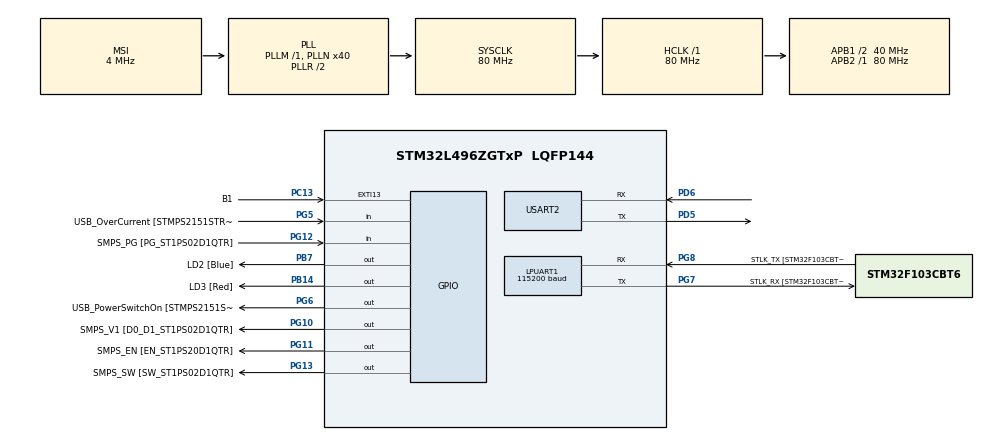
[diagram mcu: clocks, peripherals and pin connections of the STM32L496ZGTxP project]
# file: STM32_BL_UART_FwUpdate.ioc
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CRC.InputDataFormat=CRC_INPUTDATA_FORMAT_WORDS
LPUART1.BaudRate=115200
LPUART1.WordLength=UART_WORDLENGTH_8B
Mcu.Family=STM32L4
Mcu.Name=STM32L496ZGTxP
Mcu.Package=LQFP144
NVIC.PriorityGroup=NVIC_PRIORITYGROUP_4
PA13\ (JTMS/SWDIO).GPIO_Label=TMS
PA13\ (JTMS/SWDIO).Mode=Trace_Asynchronous_SW
PA13\ (JTMS/SWDIO).Signal=SYS_JTMS-SWDIO
PA14\ (JTCK/SWCLK).GPIO_Label=TCK
PA14\ (JTCK/SWCLK).Mode=Trace_Asynchronous_SW
PA14\ (JTCK/SWCLK).Signal=SYS_JTCK-SWCLK
PB14.GPIO_Label=LD3 [Red]
PB14.Signal=GPIO_Output
PB3\ (JTDO/TRACESWO).GPIO_Label=SWO
PB3\ (JTDO/TRACESWO).Mode=Trace_Asynchronous_SW
PB3\ (JTDO/TRACESWO).Signal=SYS_JTDO-SWO
PB7.GPIO_Label=LD2 [Blue]
PB7.Signal=GPIO_Output
PC13.GPIO_Label=B1
PC13.Signal=GPXTI13
PC14-OSC32_IN\ (PC14).Signal=RCC_OSC32_IN
PC15-OSC32_OUT\ (PC15).Signal=RCC_OSC32_OUT
PD5.Mode=Asynchronous
PD5.Signal=USART2_TX
PD6.Mode=Asynchronous
PD6.Signal=USART2_RX
PG10.GPIO_Label=SMPS_V1 [D0_D1_ST1PS02D1QTR]
PG10.Signal=GPIO_Output
PG11.GPIO_Label=SMPS_EN [EN_ST1PS20D1QTR]
PG11.Signal=GPIO_Output
PG12.GPIO_Label=SMPS_PG [PG_ST1PS02D1QTR]
PG12.Signal=GPIO_Input
PG13.GPIO_Label=SMPS_SW [SW_ST1PS02D1QTR]
PG13.Signal=GPIO_Output
PG5.GPIO_Label=USB_OverCurrent [STMPS2151STR_FAULT]
PG5.Signal=GPIO_Input
PG6.GPIO_Label=USB_PowerSwitchOn [STMPS2151STR_EN]
PG6.Signal=GPIO_Output
PG7.GPIO_Label=STLK_RX [STM32F103CBT6_PA3]
PG7.Mode=Asynchronous
PG7.Signal=LPUART1_TX
PG8.GPIO_Label=STLK_TX [STM32F103CBT6_PA2]
PG8.Mode=Asynchronous
PG8.Signal=LPUART1_RX
PH0-OSC_IN\ (PH0).GPIO_Label=MCO
PH0-OSC_IN\ (PH0).Signal=RCC_OSC_IN
PH1-OSC_OUT\ (PH1).Signal=RCC_OSC_OUT
ProjectManager.HeapSize=0x200
ProjectManager.StackSize=0x400
ProjectManager.TargetToolchain=STM32CubeIDE
RCC.48MHZClocksFreq_Value=24000000
RCC.AHBFreq_Value=80000000
RCC.APB1CLKDivider=RCC_HCLK_DIV2
RCC.APB1Freq_Value=40000000
RCC.APB1TimFreq_Value=80000000
RCC.APB2Freq_Value=80000000
RCC.APB2TimFreq_Value=80000000
RCC.CortexFreq_Value=80000000
RCC.HCLKFreq_Value=80000000
RCC.HSE_VALUE=8000000
RCC.HSI48_VALUE=48000000
RCC.HSI_VALUE=16000000
RCC.LSE_VALUE=32768
RCC.MSI_VALUE=4000000
RCC.PLLMUL=RCC_PLL_MUL9
RCC.PLLN=40
RCC.PRESCALERUSB=RCC_USBCLKSOURCE_PLL_DIV1_5
RCC.SYSCLKFreq_VALUE=80000000
RCC.SYSCLKSource=RCC_SYSCLKSOURCE_PLLCLK
RCC.SYSCLKSourceVirtual=RCC_SYSCLKSOURCE_PLLCLK
RCC.USBFreq_Value=16000000
RCC.VCOOutputFreq_Value=160000000
USART2.VirtualMode-Asynchronous=VM_ASYNC
VP_CRC_VS_CRC.Mode=CRC_Activate
board=NUCLEO-L496ZG-P

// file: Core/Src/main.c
/* USER CODE BEGIN Header */
/**
  ******************************************************************************
  * @file           : main.c
  * @brief          : Main program body
  ******************************************************************************
  * @attention
  *
  * Copyright (c) 2025 STMicroelectronics.
  * All rights reserved.
  *
  * This software is licensed under terms that can be found in the LICENSE file
  * in the root directory of this software component.
  * If no LICENSE file comes with this software, it is provided AS-IS.
  *
  ******************************************************************************
  */
/* USER CODE END Header */
#include "main.h"

/* USER CODE BEGIN PD */
#define BL_DEBUG_MSG_EN	1
#define D_UART &hlpuart1 /* Debug UART*/
#define C_UART &huart2 /* Virtual Communication UART - For BL Commands (C)*/

#define BL_RX_LEN 200

#define FLASH_BOOTLOADER 		0x08000000 /* Bank 1 - Boot loader 32KB*/
#define FLASH_FIRMWARE1 		0x08008000 /* Bank 1 - 480KB */
#define FLASH_FIRMWARE2 		0x08080000 /* Bank 2 - 512KB */

/* FLASH Active Bank Macros */
#define FLASH_ACTIVE_BANK1 		1
#define FLASH_ACTIVE_BANK2		2

/* FLASH Page for Meta data*/
#define FLASH_METADATA_PAGE		511
#define FLASH_METADATA_BASEADDR	0x080FF800

/* USER CODE END PD */

CRC_HandleTypeDef hcrc;

UART_HandleTypeDef hlpuart1;
UART_HandleTypeDef huart2;

/* USER CODE BEGIN PV */
uint8_t bl_rx_buffer[BL_RX_LEN]; /* Buffer for general boot loader communications */

uint8_t supported_commands[] = {
                                 BL_GET_VER ,
                                 BL_GET_HELP,
                                 BL_GET_CID,
                                 BL_GET_RDP_STATUS,
                                 BL_GO_TO_ADDR,
                                 BL_FLASH_ERASE,
                                 BL_MEM_WRITE,
                                 BL_READ_SECTOR_P_STATUS,
								 BL_SHOW_ACTIVE_BANK};

uint8_t active_bank_number; /*Variable to store active bank number ACTIVE_BANK_1 or ACTIVE_BANK_2*/

/* Variable to store the active firmware bank number - To be preserved even after powering off
 * One method: one dedicated page (2KB) in FLASH for configuration data - meta-data*/

/* USER CODE END PV */

void SystemClock_Config(void);
static void MX_GPIO_Init(void);
static void MX_LPUART1_UART_Init(void);
static void MX_USART2_UART_Init(void);
static void MX_CRC_Init(void);

int main(void)
{

  /* MCU Configuration--------------------------------------------------------*/

  /* Reset of all peripherals, Initializes the Flash interface and the Systick. */
  HAL_Init();

  /* Configure the system clock */
  SystemClock_Config();

  /* Initialize all configured peripherals */
  MX_GPIO_Init();
  MX_LPUART1_UART_Init();
  MX_USART2_UART_Init();
  MX_CRC_Init();
  /* USER CODE BEGIN 2 */

  /*Initially active bank is set as FLASH_ACTIVE_BANK1 as factory setup. TODO: Write protect and other necessary operations*/
  //update_active_bank_number(FLASH_ACTIVE_BANK2);

  /*Fetch the bank no. which has to be activated*/
  active_bank_number = fetch_active_bank_number();
  printmsg("BL_DEBUG_MSG: Active Bank: %d \n\r", active_bank_number);

  /*If button is pressed*/
  if(HAL_GPIO_ReadPin(B1_GPIO_Port, B1_Pin) == GPIO_PIN_SET)
  {
	  printmsg("BL_DEBUG_MSG: Button pressed. Checking for firmware updates.\n\r");

	  /*Clear the RX buffer for firmware related functions TODO: Check this logic*/
	  //memset(bl_rx_buffer, 0, BL_RX_LEN);

	  /* Function to return the version available on the host application */
	  //uint8_t available_version = fetch_available_firmware_version(); TODO: Fix Flow Logic
	  //printmsg("BL_DEBUG_MSG: Fetched version: %d \n\r", available_version);

	  /* Check if the user needs to update firmware, get input via Debug UART */
	  printmsg("BL_DEBUG_MSG: Update Firmware? Y/n \n\r");
	  uint8_t update_option;
	  HAL_UART_Receive(D_UART, &update_option, 1, HAL_MAX_DELAY);
	  if(update_option == 'Y' || update_option == 'y')
	  {
		  /*User requires a firmware update */

		  handle_firmware_update();

	  }else if(update_option == 'N' || update_option == 'n')
	  {
		  /*User does not requires a firmware update, go to custom boot loader*/
		  printmsg("BL_DEBUG_MSG: Update not required, entering bootloader mode \n\r");

		  /*Continuously check for user inputs to the boot loader*/
		  bootloader_uart_read_data();

	  }else{
		  printmsg("BL_DEBUG_MSG: Invalid option. Please reset the board. \n\r");
		  while(1);
	  }

  }else{

	  printmsg("BL_DEBUG_MSG: Button not pressed. Executing user application\n\r");

	  bootloader_jump_to_active_bank(); /*Jump to the active bank binaries*/
  }

  /* USER CODE END 2 */

  /* Infinite loop */
  while (1)
  {

  }
}

void SystemClock_Config(void)
{
  RCC_OscInitTypeDef RCC_OscInitStruct = {0};
  RCC_ClkInitTypeDef RCC_ClkInitStruct = {0};

  /** Configure the main internal regulator output voltage
  */
  if (HAL_PWREx_ControlVoltageScaling(PWR_REGULATOR_VOLTAGE_SCALE1) != HAL_OK)
  {
    Error_Handler();
  }

  /** Initializes the RCC Oscillators according to the specified parameters
  * in the RCC_OscInitTypeDef structure.
  */
  RCC_OscInitStruct.OscillatorType = RCC_OSCILLATORTYPE_MSI;
  RCC_OscInitStruct.MSIState = RCC_MSI_ON;
  RCC_OscInitStruct.MSICalibrationValue = 0;
  RCC_OscInitStruct.MSIClockRange = RCC_MSIRANGE_6;
  RCC_OscInitStruct.PLL.PLLState = RCC_PLL_ON;
  RCC_OscInitStruct.PLL.PLLSource = RCC_PLLSOURCE_MSI;
  RCC_OscInitStruct.PLL.PLLM = 1;
  RCC_OscInitStruct.PLL.PLLN = 40;
  RCC_OscInitStruct.PLL.PLLP = RCC_PLLP_DIV2;
  RCC_OscInitStruct.PLL.PLLQ = RCC_PLLQ_DIV2;
  RCC_OscInitStruct.PLL.PLLR = RCC_PLLR_DIV2;
  if (HAL_RCC_OscConfig(&RCC_OscInitStruct) != HAL_OK)
  {
    Error_Handler();
  }

  /** Initializes the CPU, AHB and APB buses clocks
  */
  RCC_ClkInitStruct.ClockType = RCC_CLOCKTYPE_HCLK|RCC_CLOCKTYPE_SYSCLK
                              |RCC_CLOCKTYPE_PCLK1|RCC_CLOCKTYPE_PCLK2;
  RCC_ClkInitStruct.SYSCLKSource = RCC_SYSCLKSOURCE_PLLCLK;
  RCC_ClkInitStruct.AHBCLKDivider = RCC_SYSCLK_DIV1;
  RCC_ClkInitStruct.APB1CLKDivider = RCC_HCLK_DIV2;
  RCC_ClkInitStruct.APB2CLKDivider = RCC_HCLK_DIV1;

  if (HAL_RCC_ClockConfig(&RCC_ClkInitStruct, FLASH_LATENCY_4) != HAL_OK)
  {
    Error_Handler();
  }
}

static void MX_CRC_Init(void)
{

  hcrc.Instance = CRC;
  hcrc.Init.DefaultPolynomialUse = DEFAULT_POLYNOMIAL_ENABLE;
  hcrc.Init.DefaultInitValueUse = DEFAULT_INIT_VALUE_ENABLE;
  hcrc.Init.InputDataInversionMode = CRC_INPUTDATA_INVERSION_NONE;
  hcrc.Init.OutputDataInversionMode = CRC_OUTPUTDATA_INVERSION_DISABLE;
  hcrc.InputDataFormat = CRC_INPUTDATA_FORMAT_WORDS;
  if (HAL_CRC_Init(&hcrc) != HAL_OK)
  {
    Error_Handler();
  }

}

static void MX_LPUART1_UART_Init(void)
{

  hlpuart1.Instance = LPUART1;
  hlpuart1.Init.BaudRate = 115200;
  hlpuart1.Init.WordLength = UART_WORDLENGTH_8B;
  hlpuart1.Init.StopBits = UART_STOPBITS_1;
  hlpuart1.Init.Parity = UART_PARITY_NONE;
  hlpuart1.Init.Mode = UART_MODE_TX_RX;
  hlpuart1.Init.HwFlowCtl = UART_HWCONTROL_NONE;
  hlpuart1.Init.OneBitSampling = UART_ONE_BIT_SAMPLE_DISABLE;
  hlpuart1.AdvancedInit.AdvFeatureInit = UART_ADVFEATURE_NO_INIT;
  if (HAL_UART_Init(&hlpuart1) != HAL_OK)
  {
    Error_Handler();
  }

}

static void MX_USART2_UART_Init(void)
{

  huart2.Instance = USART2;
  huart2.Init.BaudRate = 115200;
  huart2.Init.WordLength = UART_WORDLENGTH_8B;
  huart2.Init.StopBits = UART_STOPBITS_1;
  huart2.Init.Parity = UART_PARITY_NONE;
  huart2.Init.Mode = UART_MODE_TX_RX;
  huart2.Init.HwFlowCtl = UART_HWCONTROL_NONE;
  huart2.Init.OverSampling = UART_OVERSAMPLING_16;
  huart2.Init.OneBitSampling = UART_ONE_BIT_SAMPLE_DISABLE;
  huart2.AdvancedInit.AdvFeatureInit = UART_ADVFEATURE_NO_INIT;
  if (HAL_UART_Init(&huart2) != HAL_OK)
  {
    Error_Handler();
  }

}

static void MX_GPIO_Init(void)
{
  GPIO_InitTypeDef GPIO_InitStruct = {0};

  /* GPIO Ports Clock Enable */
  __HAL_RCC_GPIOC_CLK_ENABLE();
  __HAL_RCC_GPIOH_CLK_ENABLE();
  __HAL_RCC_GPIOB_CLK_ENABLE();
  __HAL_RCC_GPIOG_CLK_ENABLE();
  HAL_PWREx_EnableVddIO2();
  __HAL_RCC_GPIOA_CLK_ENABLE();
  __HAL_RCC_GPIOD_CLK_ENABLE();

  /*Configure GPIO pin Output Level */
  HAL_GPIO_WritePin(GPIOB, LD3_Pin|LD2_Pin, GPIO_PIN_RESET);

  /*Configure GPIO pin Output Level */
  HAL_GPIO_WritePin(GPIOG, USB_PowerSwitchOn_Pin|SMPS_V1_Pin|SMPS_EN_Pin|SMPS_SW_Pin, GPIO_PIN_RESET);

  /*Configure GPIO pin : B1_Pin */
  GPIO_InitStruct.Pin = B1_Pin;
  GPIO_InitStruct.Mode = GPIO_MODE_IT_RISING;
  GPIO_InitStruct.Pull = GPIO_NOPULL;
  HAL_GPIO_Init(B1_GPIO_Port, &GPIO_InitStruct);

  /*Configure GPIO pins : LD3_Pin LD2_Pin */
  GPIO_InitStruct.Pin = LD3_Pin|LD2_Pin;
  GPIO_InitStruct.Mode = GPIO_MODE_OUTPUT_PP;
  GPIO_InitStruct.Pull = GPIO_NOPULL;
  GPIO_InitStruct.Speed = GPIO_SPEED_FREQ_LOW;
  HAL_GPIO_Init(GPIOB, &GPIO_InitStruct);

  /*Configure GPIO pins : USB_OverCurrent_Pin SMPS_PG_Pin */
  GPIO_InitStruct.Pin = USB_OverCurrent_Pin|SMPS_PG_Pin;
  GPIO_InitStruct.Mode = GPIO_MODE_INPUT;
  GPIO_InitStruct.Pull = GPIO_NOPULL;
  HAL_GPIO_Init(GPIOG, &GPIO_InitStruct);

  /*Configure GPIO pins : USB_PowerSwitchOn_Pin SMPS_V1_Pin SMPS_EN_Pin SMPS_SW_Pin */
  GPIO_InitStruct.Pin = USB_PowerSwitchOn_Pin|SMPS_V1_Pin|SMPS_EN_Pin|SMPS_SW_Pin;
  GPIO_InitStruct.Mode = GPIO_MODE_OUTPUT_PP;
  GPIO_InitStruct.Pull = GPIO_NOPULL;
  GPIO_InitStruct.Speed = GPIO_SPEED_FREQ_LOW;
  HAL_GPIO_Init(GPIOG, &GPIO_InitStruct);

}

/* USER CODE BEGIN 4 */

void printmsg(char *format, ...){/* The ... (ellipsis) means that more arguments can follow */

#ifdef BL_DEBUG_MSG_EN

	char str[80];
	/*Extract the argument list using C VA APIs*/
	va_list args;
	va_start(args, format);
	vsprintf(str, format, args);
	HAL_UART_Transmit(D_UART, (uint8_t*)str, strlen(str), HAL_MAX_DELAY);
	va_end(args);
#endif
}

void bootloader_jump_to_active_bank()
{
	/* Flow of the function:
	 * 1. Reads the applications’s initial MSP and sets it.
	 * 2. Redirects interrupts by re-mapping VTOR.
	 * 3. Fetches the application’s Reset_Handler address.
	 * 4. Calls it, effectively jumping to the user application.
	 */

	printmsg("BL_DEBUG_MSG: bootloader_jump_to_user_app\n\r");

	/*The first byte at address of the FLASH area holds the value of MSP and next byte holds the Reset Handler
	 * according to ARM-Cortex Architecture */

	/*1. Configure the Main Stack Pointer (MSP) by reading the value form the flash base address of desired sector*/
	/* Check which firmware bank is active and run active firmware bank*/

	uint32_t resethandler_address;

	if(active_bank_number == FLASH_ACTIVE_BANK1)
	{

		printmsg("BL_DEBUG_MSG: Firmware Bank 1 Active. \n\r");

		uint32_t msp_value = *(volatile uint32_t*)FLASH_FIRMWARE1;

		/* Set MSP function from CMSIS*/
		__set_MSP(msp_value);

		/* Re-map vector table to user application base address */
		SCB->VTOR = FLASH_FIRMWARE1; /* System Control Block - Vector Table Offset Register */

		/* Fetch the reset handler address of the user application
		* from the location FIRMWARE_BASE_ADDRESS + 4 (32bits) */
		resethandler_address = *(volatile uint32_t*)(FLASH_FIRMWARE1 + 4);

	}else if(active_bank_number == FLASH_ACTIVE_BANK2){

		printmsg("BL_DEBUG_MSG: Firmware Bank 2 Active. \n\r");

		uint32_t msp_value = *(volatile uint32_t*)FLASH_FIRMWARE2;

		__set_MSP(msp_value);

		SCB->VTOR = FLASH_FIRMWARE2;

		resethandler_address = *(volatile uint32_t*)(FLASH_FIRMWARE2 + 4);
	}
	else{
		/*If values fetched from FLASH Meta data page is not 0 or 1*/
		printmsg("BL_DEBUG_MSG: Firmware Bank Error! \n\r");
	}

	void (*app_reset_handler)(void); /*A function pointer to hold the address of reset handler*/
	app_reset_handler = (void*) resethandler_address;

	/*3. Jumping to the reset handler of user application - Now this address will be loaded into the Program Counter*/
	app_reset_handler();

}

void bootloader_uart_read_data()
{
	uint8_t rcv_len = 0;

	while(1)
	{
		memset(bl_rx_buffer, 0, BL_RX_LEN);

		/*First read only one byte, which is the length. Then read the other bytes from UART */
		HAL_UART_Receive(C_UART, (uint8_t*)&bl_rx_buffer, 1, HAL_MAX_DELAY);
		rcv_len = bl_rx_buffer[0];
		/*Receive the command*/
		HAL_UART_Receive(C_UART, (uint8_t*)&bl_rx_buffer[1], rcv_len, HAL_MAX_DELAY);

		switch(bl_rx_buffer[1]) /* To check for command codes */
		{
		case BL_GET_VER:
			bootloader_handle_getver_cmd(bl_rx_buffer);
			break;
		case BL_GET_HELP:
			bootloader_handle_gethelp_cmd(bl_rx_buffer);
			break;
		case BL_GET_CID:
			bootloader_handle_getcid_cmd(bl_rx_buffer);
			break;
		case BL_GET_RDP_STATUS:
			bootloader_handle_getrdp_cmd(bl_rx_buffer);
			break;
		case BL_FLASH_ERASE:
			bootloader_handle_flash_erase_cmd(bl_rx_buffer);
			break;
		case BL_MEM_WRITE:
			bootloader_handle_mem_write_cmd(bl_rx_buffer);
			break;
		case BL_EN_RW_PROTECT:
			bootloader_handle_en_rw_protect(bl_rx_buffer);
			break;
		case BL_DIS_R_W_PROTECT:
			bootloader_handle_dis_rw_protect(bl_rx_buffer);
			break;
		case BL_SHOW_ACTIVE_BANK:
			bootloader_show_active_bank(bl_rx_buffer);
		default:
			printmsg("BL_DEBUG_MSG:Invalid command code received from host \n\r");
			break;

		}

	}
}

/******************* Boot loader handler functions *******************/

void bootloader_handle_getver_cmd(uint8_t *bl_rx_buffer)
{
    /* Handle "Get Version" command */
	uint8_t bl_version;

	uint32_t command_packet_len = bl_rx_buffer[0] + 1; /*Length to follow + First byte*/

	/*Extract the 4 bytes of CRC32 sent by the host*/
	uint32_t host_crc = *((uint32_t*)(bl_rx_buffer + command_packet_len - 4)); /* CRC is always 32 bits (4 bytes) here */

	/*Verify checksum*/
	printmsg("BL_DEBUG_MSG: bootloader_handle_getver_cmd\n\r");
	if(! bootloader_verify_crc(&bl_rx_buffer[0], command_packet_len - 4, host_crc))
	{
		/*Checksum is correct*/
		printmsg("BL_DEBUG_MSG: Checksum success...!\n\r");
		bootloader_send_ack(1);
		bl_version = get_bootloader_version();
		printmsg("BL_DEBUG_MSG: BL_VER: %d &#x\n\r", bl_version, bl_version);
		bootloader_uart_write_data(&bl_version, 1); /* Sends data back to the HOST */

	}else{
		printmsg("BL_DEBUG_MSG: Checksum failed...!\n\r");
		bootloader_send_nack();

	}

}

void bootloader_handle_gethelp_cmd(uint8_t *bl_rx_buffer)
{
    /* Handle "Get Help" command */
	printmsg("BL_DEBUG_MSG:bootloader_handle_gethelp_cmd\n\r");

	uint32_t command_packet_len = bl_rx_buffer[0] + 1;

	uint32_t host_crc = *((uint32_t*)(bl_rx_buffer + command_packet_len - 4));

	if(! bootloader_verify_crc(&bl_rx_buffer[0], command_packet_len - 4, host_crc))
	{
		printmsg("BL_DEBUG_MSG:checksum success !!\n\r");
		bootloader_send_ack(sizeof(supported_commands));
		bootloader_uart_write_data(supported_commands, sizeof(supported_commands));

	}else{
		printmsg("BL_DEBUG_MSG:checksum fail !!\n\r");
		bootloader_send_nack();
	}
}

void bootloader_handle_getcid_cmd(uint8_t *bl_rx_buffer)
{
    /* Handle "Get Chip ID" command */
	printmsg("BL_DEBUG_MSG:bootloader_handle_getcid_cmd\n\r");

	uint16_t bl_cid_num = 0;

	uint32_t command_packet_len = bl_rx_buffer[0] + 1;

	uint32_t host_crc = *((uint32_t*)(bl_rx_buffer + command_packet_len - 4));

	if(! bootloader_verify_crc(&bl_rx_buffer[0], command_packet_len - 4, host_crc))
	{
		printmsg("BL_DEBUG_MSG:checksum success !!\n\r");
		bootloader_send_ack(2);
		bl_cid_num = get_mcu_chip_id();
		printmsg("BL_DEBUG_MSG:MCU id : %d %#x !!\n\r",bl_cid_num, bl_cid_num);
		bootloader_uart_write_data((uint8_t*)&bl_cid_num, 2);
	}else{
		printmsg("BL_DEBUG_MSG:checksum fail !!\n\r");
		bootloader_send_nack();
	}
}

void bootloader_handle_getrdp_cmd(uint8_t *bl_rx_buffer)
{
    /* Handle "Get Read Protection Level" command */
	printmsg("BL_DEBUG_MSG:bootloader_handle_getrdp_cmd\n\r");

	uint8_t rdp_level = 0x00;

	//Total length of the command packet
	uint32_t command_packet_len = bl_rx_buffer[0]+1 ;

	//extract the CRC32 sent by the Host
	uint32_t host_crc = *((uint32_t * ) (bl_rx_buffer+command_packet_len - 4) ) ;

	if (! bootloader_verify_crc(&bl_rx_buffer[0],command_packet_len-4,host_crc))
	{
		printmsg("BL_DEBUG_MSG:checksum success !!\n\r");
		bootloader_send_ack(1);
		rdp_level = get_flash_rdp_level();
		printmsg("BL_DEBUG_MSG:RDP level: %d %#x\n\r",rdp_level, rdp_level);
		bootloader_uart_write_data(&rdp_level, 1);

	}else{
		printmsg("BL_DEBUG_MSG:checksum fail !!\n\r");
		bootloader_send_nack();
	}
}

void bootloader_handle_flash_erase_cmd(uint8_t *pBuffer)
{
    uint8_t erase_status = 0x00;
    uint32_t command_packet_len;
    uint32_t host_crc;

    printmsg("BL_DEBUG_MSG: bootloader_handle_flash_erase_cmd\n\r");

    /* Get total command length and host CRC */
    command_packet_len = bl_rx_buffer[0] + 1;
    host_crc = *((uint32_t *)(bl_rx_buffer + command_packet_len - 4));

    /* Verify CRC */
    if (!bootloader_verify_crc(&bl_rx_buffer[0], command_packet_len - 4, host_crc))
    {
        printmsg("BL_DEBUG_MSG: CRC check success.\n\r");
        bootloader_send_ack(1);

        uint32_t page_number     = pBuffer[2];
        uint32_t number_of_pages = pBuffer[3];

        printmsg("BL_DEBUG_MSG: page_number=%ld  number_of_pages=%ld\n\r", page_number, number_of_pages);

        HAL_GPIO_WritePin(GPIOB, GPIO_PIN_14, GPIO_PIN_SET);

        /* Mass erase check */
        if (page_number == 0xFF)
        {
            /* Convert to sentinel value used in execute_flash_erase() */
            page_number = 0xFFFFFFFFU;
        }

        erase_status = execute_flash_erase(page_number, number_of_pages);

        HAL_GPIO_WritePin(GPIOB, GPIO_PIN_14, GPIO_PIN_RESET);

        printmsg("BL_DEBUG_MSG: flash erase status: %#x\n\r", erase_status);

        /* Send erase result to host */
        bootloader_uart_write_data(&erase_status, 1);
    }
    else
    {
        printmsg("BL_DEBUG_MSG: CRC check failed!\n\r");
        bootloader_send_nack();
    }
}

void bootloader_handle_mem_write_cmd(uint8_t *bl_rx_buffer)
{
	/* Handle "Memory Write" command */

	printmsg("BL_DEBUG_MSG:bootloader_handle_mem_write_cmd\n\r");

	uint8_t write_status = 0x00;
	uint8_t payload_len = bl_rx_buffer[6];

	uint32_t mem_addr = *((uint32_t*)(&bl_rx_buffer[2]));

	uint32_t command_packet_len = bl_rx_buffer[0] + 1 ;
	uint32_t host_crc = *((uint32_t * ) (bl_rx_buffer + command_packet_len - 4));

	if(! bootloader_verify_crc(&bl_rx_buffer[0], command_packet_len -4, host_crc))
	{
		printmsg("BL_DEBUG_MSG:checksum success !!\n\r");
		bootloader_send_ack(1);
		printmsg("BL_DEBUG_MSG: mem write address : %#x\n\r",mem_addr);

		if( verify_address(mem_addr) == ADDR_VALID ) {

			printmsg("BL_DEBUG_MSG: valid mem write address\n\r");

			//glow the led to indicate bootloader is currently writing to memory
			HAL_GPIO_WritePin(GPIOB, GPIO_PIN_14,1);

			/* Execute memory write*/
			write_status = execute_mem_write(&bl_rx_buffer[7], mem_addr, payload_len);

			HAL_GPIO_WritePin(GPIOB, GPIO_PIN_14,0);

			//inform host about the status
			bootloader_uart_write_data(&write_status,1);

		}else{
			printmsg("BL_DEBUG_MSG: invalid mem write address\n\r");
			write_status = ADDR_INVALID;
			//inform host that address is invalid
			bootloader_uart_write_data(&write_status,1);

		}
	}else{
		printmsg("BL_DEBUG_MSG:checksum fail !!\n\r");
		bootloader_send_nack();
	}
}

void bootloader_handle_en_rw_protect(uint8_t *bl_rx_buffer)
{
    /* Handle "Enable Read/Write Protection" command */
}

void bootloader_handle_dis_rw_protect(uint8_t *bl_rx_buffer)
{
    /* Handle "Disable Read/Write Protection" command */
}

void bootloader_send_nack(void)
{
	uint8_t nack = BL_NACK;
	HAL_UART_Transmit(C_UART, (uint8_t*)&nack, 1, HAL_MAX_DELAY);
}

void bootloader_send_ack(uint8_t follow_len)
{
	/* 2 Bytes are sent, first byte is ACK and second is the length value */
	uint8_t ack_buf[2];
	ack_buf[0] = BL_ACK;
	ack_buf[1] = follow_len;
	HAL_UART_Transmit(C_UART, (uint8_t*)&ack_buf, 2, HAL_MAX_DELAY);

}

uint8_t bootloader_verify_crc(uint8_t *pData, uint32_t len, uint32_t crc_host)
{
	uint32_t uwCRCValue = 0xff;

	for(int i=0; i<len; i++)
	{
		uint32_t i_data = pData[i];
		uwCRCValue = HAL_CRC_Accumulate(&hcrc, &i_data, 1);
	}

	/* Reset CRC Calculation Unit */
	__HAL_CRC_DR_RESET(&hcrc);

	if(uwCRCValue == crc_host)
		return VERIFY_CRC_SUCCESS;
	return VERIFY_CRC_FAIL;

}

void bootloader_uart_write_data(uint8_t *pBuffer,uint32_t len)
{
	HAL_UART_Transmit(C_UART, pBuffer, len, HAL_MAX_DELAY);
}

uint8_t get_bootloader_version()
{
	return (uint8_t)BL_VERSION;
}

uint16_t get_mcu_chip_id(void)
{
	/* RM: The STM32L47x/L48x/L49x/L4Ax MCUs integrate an MCU ID code. This ID identifies the
	   ST MCU part-number and the die revision. It is part of the DBG_MCU component and is
	   mapped on the external PPB bus (see Section 48.16 on page 1832). This code is
	   accessible using the JTAG debug port (4 to 5 pins) or the SW debug port (two pins) or by
	   the user software. It is even accessible while the MCU is under system reset.
	 */

	uint16_t cid;
	/* Reading the register and masking the unnecessary bits */
	cid = (uint16_t)(DBGMCU->IDCODE) & 0x0FFF;
	return cid;
}

uint8_t get_flash_rdp_level(void)
{
	/* !!! VERY IMPORTANT !!!! */
	/*
	 * LEVEL 2 (No debug mode): Option bytes cannot be programmed nor erased. Thus, the level 2 cannot be removed at all:
	 * it is an IRREVERSIBLE operation. 'DO NOT USE' Level 2, it is for end user products.
	 *
	 * When decreased from 'Level 1 to Level 0', the FLASH goes into MASS ERASE.
	 *
	 * */
	/*HAL Implementation*/
	uint8_t rdp_status = 0;
	FLASH_OBProgramInitTypeDef ob_handle;
	HAL_FLASHEx_OBGetConfig(&ob_handle);
	rdp_status = (uint8_t)ob_handle.RDPLevel;
	return rdp_status;
}

uint8_t verify_address(uint32_t go_address)
{
	/*Jump to FLASH, System Memory, SRAM1, SRAM2, Backup SRAM allowed,
	 * others such as peripheral memory not allowed*/

	if ( go_address >= SRAM1_BASE && go_address <= SRAM1_END) {

		return ADDR_VALID;
	} else if ( go_address >= SRAM2_BASE && go_address <= SRAM2_END) {

		return ADDR_VALID;
	} else if ( go_address >= FLASH_BASE && go_address <= FLASH_END) {

		return ADDR_VALID;
	}else
	return ADDR_INVALID;
}

uint8_t execute_flash_erase(uint32_t page_number, uint32_t number_of_pages)
{
    FLASH_EraseInitTypeDef flashErase_handle;
    uint32_t sectorError;
    HAL_StatusTypeDef status;

    /* Validate page range */
    if ((page_number >= 512U) || ((page_number + number_of_pages) > 512U))
        return INVALID_SECTOR;

    HAL_FLASH_Unlock();

    if (page_number == 0xFFFFFFFFU)   /* Mass Erase */
    {
        flashErase_handle.TypeErase = FLASH_TYPEERASE_MASSERASE;
        flashErase_handle.Banks = FLASH_BANK_BOTH;   /* erase both banks */
    }
    else
    {
        flashErase_handle.TypeErase = FLASH_TYPEERASE_PAGES;

        if (page_number < 256U)
        {
            flashErase_handle.Banks = FLASH_BANK_1;
            flashErase_handle.Page  = page_number;
        }
        else
        {
            flashErase_handle.Banks = FLASH_BANK_2;
            flashErase_handle.Page  = page_number - 256U;
        }

        flashErase_handle.NbPages = number_of_pages;
    }

    status = HAL_FLASHEx_Erase(&flashErase_handle, &sectorError);
    HAL_FLASH_Lock();

    if (status != HAL_OK)
        return ERASE_FAILED;

    return ERASE_SUCCESS;
}

uint8_t execute_mem_write(uint8_t *pBuffer, uint32_t mem_address, uint32_t len)
{
	/* Below code is for FLASH_TYPEPROGRAM_DOUBLEWORD logic - host application sends single word */

    HAL_StatusTypeDef status = HAL_OK;

    if ((mem_address & 0x7U) != 0U) return (uint8_t)HAL_ERROR; /* must be 8-byte aligned */
    if (len == 0U) return (uint8_t)HAL_OK;

    HAL_FLASH_Unlock();

    for (uint32_t offset = 0; offset < len; offset += 8U) {
        uint64_t data64 = 0ULL;
        uint32_t chunk = ((len - offset) >= 8U) ? 8U : (len - offset);

        /* pack available bytes (little-endian) */
        for (uint32_t b = 0U; b < chunk; ++b) {
            data64 |= ((uint64_t)pBuffer[offset + b]) << (8U * b);
        }
        /* pad remaining bytes with 0xFF if needed */
        for (uint32_t b = chunk; b < 8U; ++b) {
            data64 |= ((uint64_t)0xFFU) << (8U * b);
        }

        status = HAL_FLASH_Program(FLASH_TYPEPROGRAM_DOUBLEWORD, mem_address + offset, data64);
        if (status != HAL_OK) break;
    }

    HAL_FLASH_Lock();
    return (uint8_t)status; /* 0 = HAL_OK */
}

uint8_t fetch_available_firmware_version(void)
{

	uint8_t version_request_command = 0x99;
	uint8_t available_version;
	bootloader_uart_write_data(&version_request_command, 1);
	HAL_UART_Receive(C_UART, &available_version, 1, HAL_MAX_DELAY);
	/*TODO: Add CRC verification for the received function*/
	return available_version;
}

uint8_t handle_firmware_update(void)
{

		/* Find the inactive bank address and corresponding page numbers*/
	uint32_t inactive_bank_adress = (active_bank_number == FLASH_ACTIVE_BANK1) ? FLASH_FIRMWARE2 : FLASH_FIRMWARE1;
	uint32_t inactive_page_number = (active_bank_number == FLASH_ACTIVE_BANK1) ? 256 : 16;
	uint8_t inactive_bank_number = (active_bank_number == FLASH_ACTIVE_BANK1) ? FLASH_ACTIVE_BANK2 : FLASH_ACTIVE_BANK1;

	printmsg("BL_DEBUG_MSG: Downloading binaries to inactive bank: %d \n\r", inactive_bank_number);

	uint8_t update_request = BL_FW_UPDATE_REQUIRED;
	bootloader_uart_write_data(&update_request, 1);

	uint32_t current_address = inactive_bank_adress;

	/*TODO: Need a continuous loop here to continuously get the pay load and write*/
	while(1)
	{
		memset(bl_rx_buffer, 0, BL_RX_LEN);
		HAL_UART_Receive(C_UART, (uint8_t*)&bl_rx_buffer, 1, HAL_MAX_DELAY);
		if(bl_rx_buffer[0] == 250)
		{
			printmsg("BL_DEBUG_MSG: Download Complete! \n\r");
			break;
		}
		uint32_t rcv_len = bl_rx_buffer[0];
		HAL_UART_Receive(C_UART, (uint8_t*)&bl_rx_buffer[1], rcv_len, HAL_MAX_DELAY);

		/* Get the length and check if new firmware fit into the banks, <= 480KB (in terms of words) TODO: Add size check, verification, roll back, other features*/
		// uint8_t write_status = 0x00;
		uint8_t payload_len = bl_rx_buffer[6];

		/* Erase the Inactive bank */
		//execute_flash_erase(inactive_page_number , 240);
		//printmsg("Inactive bank erased. Ready to write. \n\r");

		/* Download onto Inactive bank */
		execute_mem_write(&bl_rx_buffer[7], current_address, payload_len);
		current_address += payload_len;

	}

	/*Update the active bank number in FLASH */
	uint8_t num_status = update_active_bank_number(inactive_bank_number);

	return num_status;
}

void bootloader_show_active_bank(uint8_t *pBuffer)
{
	/* Variable to store the active firmware bank number - To be preserved even after powering off
	 * One method: one dedicated page (2KB) in FLASH for configuration data - meta-data*/
	bootloader_uart_write_data((uint8_t*)&pBuffer[1], 1);
}

uint8_t update_active_bank_number(uint8_t active_bank)
{
	/*Update the active bank number in FLASH page, after Firmware Update*/

	FLASH_EraseInitTypeDef flashErase_handle;
	uint32_t pageError;
	HAL_StatusTypeDef status;

	HAL_FLASH_Unlock();

	flashErase_handle.Banks = FLASH_BANK_2;
	flashErase_handle.NbPages = 1;
	flashErase_handle.Page = FLASH_METADATA_PAGE;
	flashErase_handle.TypeErase = FLASH_TYPEERASE_PAGES;

	status = HAL_FLASHEx_Erase(&flashErase_handle, &pageError);
	if (status == HAL_ERROR) return HAL_ERROR;

	status = HAL_FLASH_Program(FLASH_TYPEPROGRAM_DOUBLEWORD, FLASH_METADATA_BASEADDR, (uint64_t)active_bank);

	HAL_FLASH_Lock();

	return status;

}

uint8_t fetch_active_bank_number(void)
{
	/*Fetch the active bank details from dedicated FLASH meta data page*/
	uint64_t retrieved_data;
	retrieved_data = *(const uint64_t*) FLASH_METADATA_BASEADDR;

	return (uint8_t)retrieved_data;
}

/* USER CODE END 4 */

void Error_Handler(void)
{
  __disable_irq();
  while (1)
  {
  }
}
